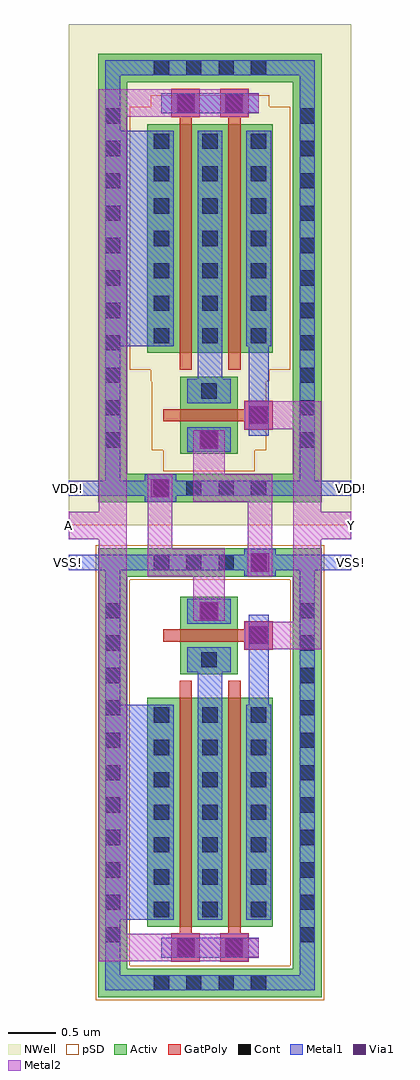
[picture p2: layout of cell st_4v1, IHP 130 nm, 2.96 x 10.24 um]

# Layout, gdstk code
import gdstk
lib = gdstk.Library(unit=1e-6, precision=1e-09)
def R(c, l, rs):  # rectangles x0, y0, x1, y1
    for r in rs: c.add(gdstk.rectangle(r[:2], r[2:], *l))
def A(c, l, x, y, w, h, nx, ny, dx, dy):  # array of equal rectangles
    R(c, l, [(x+i*dx, y+j*dy, x+i*dx+w, y+j*dy+h) for i in range(nx) for j in range(ny)])
Activ = (1, 0)
GatPoly = (5, 0)
Cont = (6, 0)
Metal1 = (8, 0)
Metal2 = (10, 0)
pSD = (14, 0)
Via1 = (19, 0)
NWell = (31, 0)

st_4v1 = lib.new_cell('st_4v1')
R(st_4v1, Activ, [(-0.15,-6.36,2.19,-6.06), (-0.15,-6.06,0.15,-1.95), (1.89,-6.06,2.19,-1.95), (0.36,-5.62,1.68,-3.22), (0.71,-2.97,1.31,-2.16), (-0.15,-1.95,2.19,-1.65), (-0.15,-1.17,2.19,-0.87), (-0.15,-0.87,0.15,3.24), (1.89,-0.87,2.19,3.24), (0.71,-0.66,1.31,0.15), (0.36,0.4,1.68,2.8), (-0.15,3.24,2.19,3.54)])
R(st_4v1, GatPoly, [(0.615,-5.99,0.915,-5.69), (1.125,-5.99,1.425,-5.69), (0.7,-5.69,0.83,-3.04), (1.21,-5.69,1.34,-3.04), (1.38,-2.715,1.68,-2.63), (0.53,-2.63,1.68,-2.5), (1.38,-2.5,1.68,-2.415), (1.38,-0.405,1.68,-0.32), (0.53,-0.32,1.68,-0.19), (1.38,-0.19,1.68,-0.105), (0.7,0.22,0.83,2.87), (1.21,0.22,1.34,2.87), (0.615,2.87,0.915,3.17), (1.125,2.87,1.425,3.17)])
A(st_4v1, Cont, 0.43, -6.29, 0.16, 0.16, 4, 2, 0.34, 4.41)
A(st_4v1, Cont, -0.08, -5.785, 0.16, 0.16, 1, 11, 0, 0.34)
A(st_4v1, Cont, 1.96, -5.785, 0.16, 0.16, 1, 11, 0, 0.34)
A(st_4v1, Cont, 0.43, -5.52, 0.16, 0.16, 3, 7, 0.51, 0.34)
A(st_4v1, Cont, 0.43, -1.1, 0.16, 0.16, 4, 2, 0.34, 4.41)
A(st_4v1, Cont, -0.08, -0.595, 0.16, 0.16, 1, 11, 0, 0.34)
A(st_4v1, Cont, 1.96, -0.595, 0.16, 0.16, 1, 11, 0, 0.34)
A(st_4v1, Cont, 0.43, 0.5, 0.16, 0.16, 3, 7, 0.51, 0.34)
R(st_4v1, Cont, [(0.685,-5.92,0.845,-5.76), (1.195,-5.92,1.355,-5.76), (0.93,-2.9,1.09,-2.74), (1.45,-2.645,1.61,-2.485), (0.93,-2.39,1.09,-2.23), (0.93,-0.59,1.09,-0.43), (1.45,-0.335,1.61,-0.175), (0.93,-0.08,1.09,0.08), (0.685,2.94,0.845,3.1), (1.195,2.94,1.355,3.1)])
R(st_4v1, Metal1, [(-0.08,-6.29,2.12,-6.13), (-0.08,-6.13,0.08,-5.55), (1.96,-6.13,2.12,-1.88), (0.51,-5.945,1.53,-5.735), (-0.08,-5.55,0.64,-3.29), (0.89,-5.55,1.15,-2.95), (1.4,-5.55,1.66,-3.29), (-0.08,-3.29,0.08,-1.88), (1.425,-3.29,1.635,-2.35), (0.78,-2.95,1.24,-2.69), (0.78,-2.44,1.24,-2.18), (1.38,-1.945,1.71,-1.88), (-0.46,-1.88,2.5,-1.72), (1.38,-1.72,1.71,-1.655), (0.335,-1.165,0.665,-1.1), (-0.46,-1.1,2.5,-0.94), (-0.08,-0.94,0.08,0.47), (0.335,-0.94,0.665,-0.875), (1.96,-0.94,2.12,3.31), (0.78,-0.64,1.24,-0.38), (1.425,-0.47,1.635,0.47), (0.78,-0.13,1.24,0.13), (0.89,0.13,1.15,2.73), (-0.08,0.47,0.64,2.73), (1.4,0.47,1.66,2.73), (-0.08,2.73,0.08,3.31), (0.51,2.915,1.53,3.125), (-0.08,3.31,2.12,3.47)])
R(st_4v1, Metal2, [(-0.145,-5.985,1.42,-5.94), (-0.145,-5.94,1.53,-5.74), (-0.145,-5.74,1.42,-5.695), (-0.145,-5.695,0.145,-1.555), (1.385,-2.71,2.185,-2.42), (1.895,-2.42,2.185,-1.555), (0.845,-2.41,1.175,-1.945), (0.365,-1.945,1.175,-1.655), (1.415,-1.945,1.675,-1.165), (0.365,-1.655,0.625,-0.875), (-0.46,-1.555,0.145,-1.265), (1.895,-1.555,2.5,-1.265), (-0.145,-1.265,0.145,2.875), (1.895,-1.265,2.185,-0.4), (0.845,-1.165,1.675,-0.875), (0.845,-0.875,1.175,-0.41), (1.385,-0.4,2.185,-0.11), (-0.145,2.875,1.42,2.92), (-0.145,2.92,1.53,3.12), (-0.145,3.12,1.42,3.165)])
R(st_4v1, pSD, [(-0.18,-6.39,2.22,-6.03), (-0.18,-6.03,0.18,-1.98), (1.86,-6.03,2.22,-1.98), (-0.18,-1.98,2.22,-1.62), (0.53,-0.84,1.49,-0.62), (0.41,-0.62,1.61,0.1), (0.4,0.1,1.64,0.22), (0.18,0.22,1.86,2.98), (0.4,2.98,1.64,3.1)])
R(st_4v1, Via1, [(0.67,-5.935,0.86,-5.745), (1.18,-5.935,1.37,-5.745), (1.435,-2.66,1.625,-2.47), (0.915,-2.405,1.105,-2.215), (1.45,-1.895,1.64,-1.705), (0.4,-1.115,0.59,-0.925), (0.915,-0.605,1.105,-0.415), (1.435,-0.35,1.625,-0.16), (0.67,2.925,0.86,3.115), (1.18,2.925,1.37,3.115)])
R(st_4v1, NWell, [(-0.46,-1.41,2.5,3.85)])
st_4v1.add(gdstk.Label('A', (-0.46,-1.41), layer=10, texttype=25))
st_4v1.add(gdstk.Label('Y', (2.5,-1.41), layer=10, texttype=25))
st_4v1.add(gdstk.Label('VSS!', (-0.46,-1.8), layer=8, texttype=25))
st_4v1.add(gdstk.Label('VSS!', (2.5,-1.8), layer=8, texttype=25))
st_4v1.add(gdstk.Label('VDD!', (-0.46,-1.02), layer=8, texttype=25))
st_4v1.add(gdstk.Label('VDD!', (2.5,-1.02), layer=8, texttype=25))

lib.write_gds('st_4v1.gds')
